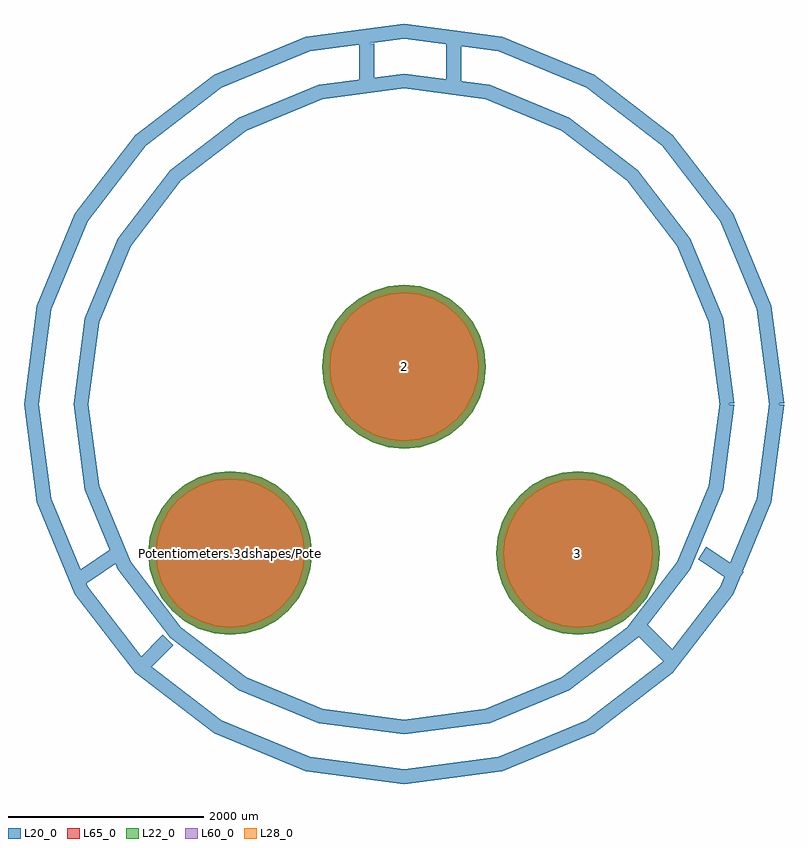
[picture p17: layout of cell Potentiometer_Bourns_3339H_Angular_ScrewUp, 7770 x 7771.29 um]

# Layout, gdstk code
import gdstk
lib = gdstk.Library(unit=1e-6, precision=1e-09)
def P(c, l, *ps):  # polygons
    for p in ps: c.add(gdstk.Polygon(p, *l))
L20_0 = (20, 0)
L22_0 = (22, 0)
L28_0 = (28, 0)
L60_0 = (60, 0)
L65_0 = (65, 0)

potentiometer_bourns_333 = lib.new_cell('Potentiometer_Bourns_3339H_Angular_ScrewUp')
P(potentiometer_bourns_333, L22_0, [(4393,0),(4376.917,163.291),(4329.287,320.306),(4251.94,465.012),(4147.848,591.848),(4021.012,695.94),(3876.306,773.287),(3719.291,820.917),(3556,837),(3392.709,820.917),(3235.694,773.287),(3090.988,695.94),(2964.152,591.848),(2860.06,465.012),(2782.713,320.306),(2735.083,163.291),(2719,0),(2735.083,-163.291),(2782.713,-320.306),(2860.06,-465.012),(2964.152,-591.848),(3090.988,-695.94),(3235.694,-773.287),(3392.709,-820.917),(3556,-837),(3719.291,-820.917),(3876.306,-773.287),(4021.012,-695.94),(4147.848,-591.848),(4251.94,-465.012),(4329.287,-320.306),(4376.917,-163.291)],
  [(837,0),(820.917,163.291),(773.287,320.306),(695.94,465.012),(591.848,591.848),(465.012,695.94),(320.306,773.287),(163.291,820.917),(0,837),(-163.291,820.917),(-320.306,773.287),(-465.012,695.94),(-591.848,591.848),(-695.94,465.012),(-773.287,320.306),(-820.917,163.291),(-837,0),(-820.917,-163.291),(-773.287,-320.306),(-695.94,-465.012),(-591.848,-591.848),(-465.012,-695.94),(-320.306,-773.287),(-163.291,-820.917),(0,-837),(163.291,-820.917),(320.306,-773.287),(465.012,-695.94),(591.848,-591.848),(695.94,-465.012),(773.287,-320.306),(820.917,-163.291)],
  [(2615,1905),(2598.917,2068.291),(2551.287,2225.306),(2473.94,2370.012),(2369.848,2496.848),(2243.012,2600.94),(2098.306,2678.287),(1941.291,2725.917),(1778,2742),(1614.709,2725.917),(1457.694,2678.287),(1312.988,2600.94),(1186.152,2496.848),(1082.06,2370.012),(1004.713,2225.306),(957.083,2068.291),(941,1905),(957.083,1741.709),(1004.713,1584.694),(1082.06,1439.988),(1186.152,1313.152),(1312.988,1209.06),(1457.694,1131.713),(1614.709,1084.083),(1778,1068),(1941.291,1084.083),(2098.306,1131.713),(2243.012,1209.06),(2369.848,1313.152),(2473.94,1439.988),(2551.287,1584.694),(2598.917,1741.709)])
P(potentiometer_bourns_333, L28_0, [(4318,0),(4303.358,148.659),(4259.996,291.605),(4189.58,423.345),(4094.815,538.815),(3979.345,633.58),(3847.605,703.996),(3704.659,747.358),(3556,762),(3407.341,747.358),(3264.395,703.996),(3132.655,633.58),(3017.185,538.815),(2922.42,423.345),(2852.004,291.605),(2808.642,148.659),(2794,0),(2808.642,-148.659),(2852.004,-291.605),(2922.42,-423.345),(3017.185,-538.815),(3132.655,-633.58),(3264.395,-703.996),(3407.341,-747.358),(3556,-762),(3704.659,-747.358),(3847.605,-703.996),(3979.345,-633.58),(4094.815,-538.815),(4189.58,-423.345),(4259.996,-291.605),(4303.358,-148.659)],
  [(762,0),(747.358,148.659),(703.996,291.605),(633.58,423.345),(538.815,538.815),(423.345,633.58),(291.605,703.996),(148.659,747.358),(0,762),(-148.659,747.358),(-291.605,703.996),(-423.345,633.58),(-538.815,538.815),(-633.58,423.345),(-703.996,291.605),(-747.358,148.659),(-762,0),(-747.358,-148.659),(-703.996,-291.605),(-633.58,-423.345),(-538.815,-538.815),(-423.345,-633.58),(-291.605,-703.996),(-148.659,-747.358),(0,-762),(148.659,-747.358),(291.605,-703.996),(423.345,-633.58),(538.815,-538.815),(633.58,-423.345),(703.996,-291.605),(747.358,-148.659)],
  [(2540,1905),(2525.358,2053.659),(2481.996,2196.605),(2411.58,2328.345),(2316.815,2443.815),(2201.345,2538.58),(2069.605,2608.996),(1926.659,2652.358),(1778,2667),(1629.341,2652.358),(1486.395,2608.996),(1354.655,2538.58),(1239.185,2443.815),(1144.42,2328.345),(1074.004,2196.605),(1030.642,2053.659),(1016,1905),(1030.642,1756.341),(1074.004,1613.395),(1144.42,1481.655),(1239.185,1366.185),(1354.655,1271.42),(1486.395,1201.004),(1629.341,1157.642),(1778,1143),(1926.659,1157.642),(2069.605,1201.004),(2201.345,1271.42),(2316.815,1366.185),(2411.58,1481.655),(2481.996,1613.395),(2525.358,1756.341)])
P(potentiometer_bourns_333, L60_0, [(4318,0),(4303.358,148.659),(4259.996,291.605),(4189.58,423.345),(4094.815,538.815),(3979.345,633.58),(3847.605,703.996),(3704.659,747.358),(3556,762),(3407.341,747.358),(3264.395,703.996),(3132.655,633.58),(3017.185,538.815),(2922.42,423.345),(2852.004,291.605),(2808.642,148.659),(2794,0),(2808.642,-148.659),(2852.004,-291.605),(2922.42,-423.345),(3017.185,-538.815),(3132.655,-633.58),(3264.395,-703.996),(3407.341,-747.358),(3556,-762),(3704.659,-747.358),(3847.605,-703.996),(3979.345,-633.58),(4094.815,-538.815),(4189.58,-423.345),(4259.996,-291.605),(4303.358,-148.659)],
  [(762,0),(747.358,148.659),(703.996,291.605),(633.58,423.345),(538.815,538.815),(423.345,633.58),(291.605,703.996),(148.659,747.358),(0,762),(-148.659,747.358),(-291.605,703.996),(-423.345,633.58),(-538.815,538.815),(-633.58,423.345),(-703.996,291.605),(-747.358,148.659),(-762,0),(-747.358,-148.659),(-703.996,-291.605),(-633.58,-423.345),(-538.815,-538.815),(-423.345,-633.58),(-291.605,-703.996),(-148.659,-747.358),(0,-762),(148.659,-747.358),(291.605,-703.996),(423.345,-633.58),(538.815,-538.815),(633.58,-423.345),(703.996,-291.605),(747.358,-148.659)],
  [(2540,1905),(2525.358,2053.659),(2481.996,2196.605),(2411.58,2328.345),(2316.815,2443.815),(2201.345,2538.58),(2069.605,2608.996),(1926.659,2652.358),(1778,2667),(1629.341,2652.358),(1486.395,2608.996),(1354.655,2538.58),(1239.185,2443.815),(1144.42,2328.345),(1074.004,2196.605),(1030.642,2053.659),(1016,1905),(1030.642,1756.341),(1074.004,1613.395),(1144.42,1481.655),(1239.185,1366.185),(1354.655,1271.42),(1486.395,1201.004),(1629.341,1157.642),(1778,1143),(1926.659,1157.642),(2069.605,1201.004),(2201.345,1271.42),(2316.815,1366.185),(2411.58,1481.655),(2481.996,1613.395),(2525.358,1756.341)])
P(potentiometer_bourns_333, L65_0, [(4393,0),(4376.917,163.291),(4329.287,320.306),(4251.94,465.012),(4147.848,591.848),(4021.012,695.94),(3876.306,773.287),(3719.291,820.917),(3556,837),(3392.709,820.917),(3235.694,773.287),(3090.988,695.94),(2964.152,591.848),(2860.06,465.012),(2782.713,320.306),(2735.083,163.291),(2719,0),(2735.083,-163.291),(2782.713,-320.306),(2860.06,-465.012),(2964.152,-591.848),(3090.988,-695.94),(3235.694,-773.287),(3392.709,-820.917),(3556,-837),(3719.291,-820.917),(3876.306,-773.287),(4021.012,-695.94),(4147.848,-591.848),(4251.94,-465.012),(4329.287,-320.306),(4376.917,-163.291)],
  [(837,0),(820.917,163.291),(773.287,320.306),(695.94,465.012),(591.848,591.848),(465.012,695.94),(320.306,773.287),(163.291,820.917),(0,837),(-163.291,820.917),(-320.306,773.287),(-465.012,695.94),(-591.848,591.848),(-695.94,465.012),(-773.287,320.306),(-820.917,163.291),(-837,0),(-820.917,-163.291),(-773.287,-320.306),(-695.94,-465.012),(-591.848,-591.848),(-465.012,-695.94),(-320.306,-773.287),(-163.291,-820.917),(0,-837),(163.291,-820.917),(320.306,-773.287),(465.012,-695.94),(591.848,-591.848),(695.94,-465.012),(773.287,-320.306),(820.917,-163.291)],
  [(2615,1905),(2598.917,2068.291),(2551.287,2225.306),(2473.94,2370.012),(2369.848,2496.848),(2243.012,2600.94),(2098.306,2678.287),(1941.291,2725.917),(1778,2742),(1614.709,2725.917),(1457.694,2678.287),(1312.988,2600.94),(1186.152,2496.848),(1082.06,2370.012),(1004.713,2225.306),(957.083,2068.291),(941,1905),(957.083,1741.709),(1004.713,1584.694),(1082.06,1439.988),(1186.152,1313.152),(1312.988,1209.06),(1457.694,1131.713),(1614.709,1084.083),(1778,1068),(1941.291,1084.083),(2098.306,1131.713),(2243.012,1209.06),(2369.848,1313.152),(2473.94,1439.988),(2551.287,1584.694),(2598.917,1741.709)])
potentiometer_bourns_333.add(gdstk.FlexPath([(5588,1524),(5458.177,2510.101),(5077.557,3429),(4472.077,4218.077),(3683,4823.557),(2764.101,5204.177),(1778,5334),(791.899,5204.177),(-127,4823.557),(-916.077,4218.077),(-1521.557,3429),(-1902.177,2510.101),(-2032,1524),(-1902.177,537.899),(-1521.557,-381),(-916.077,-1170.077),(-127,-1775.557),(791.899,-2156.177),(1778,-2286),(2764.101,-2156.177),(3683,-1775.557),(4472.077,-1170.077),(5077.557,-381),(5458.177,537.899),(5588,1524)], 149.998, ends="flush", simple_path=True, layer=20, datatype=0))  # L20_0
potentiometer_bourns_333.add(gdstk.FlexPath([(5080,1524),(4967.487,2378.62),(4637.616,3175),(4112.867,3858.867),(3429,4383.616),(2632.62,4713.487),(1778,4826),(923.38,4713.487),(127,4383.616),(-556.867,3858.867),(-1081.616,3175),(-1411.487,2378.62),(-1524,1524),(-1411.487,669.38),(-1081.616,-127),(-556.867,-810.867),(127,-1335.616),(923.38,-1665.487),(1778,-1778),(2632.62,-1665.487),(3429,-1335.616),(4112.867,-810.867),(4637.616,-127),(4967.487,669.38),(5080,1524)], 149.998, ends="flush", simple_path=True, layer=20, datatype=0))  # L20_0
potentiometer_bourns_333.add(gdstk.FlexPath([(1397,4826),(1397,5207)], 149.998, ends="flush", simple_path=True, layer=20, datatype=0))  # L20_0
potentiometer_bourns_333.add(gdstk.FlexPath([(2286,4826),(2286,5207)], 149.998, ends="flush", simple_path=True, layer=20, datatype=0))  # L20_0
potentiometer_bourns_333.add(gdstk.FlexPath([(-889,-1143),(-635,-889)], 149.998, ends="flush", simple_path=True, layer=20, datatype=0))  # L20_0
potentiometer_bourns_333.add(gdstk.FlexPath([(-1524,-254),(-1143,0)], 149.998, ends="flush", simple_path=True, layer=20, datatype=0))  # L20_0
potentiometer_bourns_333.add(gdstk.FlexPath([(5207,-254),(4826,0)], 149.998, ends="flush", simple_path=True, layer=20, datatype=0))  # L20_0
potentiometer_bourns_333.add(gdstk.FlexPath([(4572,-1143),(4191,-762)], 149.998, ends="flush", simple_path=True, layer=20, datatype=0))  # L20_0
potentiometer_bourns_333.add(gdstk.Label('Potentiometers.3dshapes/Potentiometer_Bourns_3339H_Angular_ScrewUp.wrl', (0,0), layer=12, texttype=0))
potentiometer_bourns_333.add(gdstk.Label('3', (3556,0), layer=28, texttype=0))
potentiometer_bourns_333.add(gdstk.Label('1', (0,0), layer=28, texttype=0))
potentiometer_bourns_333.add(gdstk.Label('2', (1778,1905), layer=28, texttype=0))
potentiometer_bourns_333.add(gdstk.Label('type', (1778,-4826), layer=9, texttype=0))
potentiometer_bourns_333.add(gdstk.Label('devicename', (1778,7874), layer=9, texttype=0))

lib.write_gds('Potentiometer_Bourns_3339H_Angular_ScrewUp.gds')
